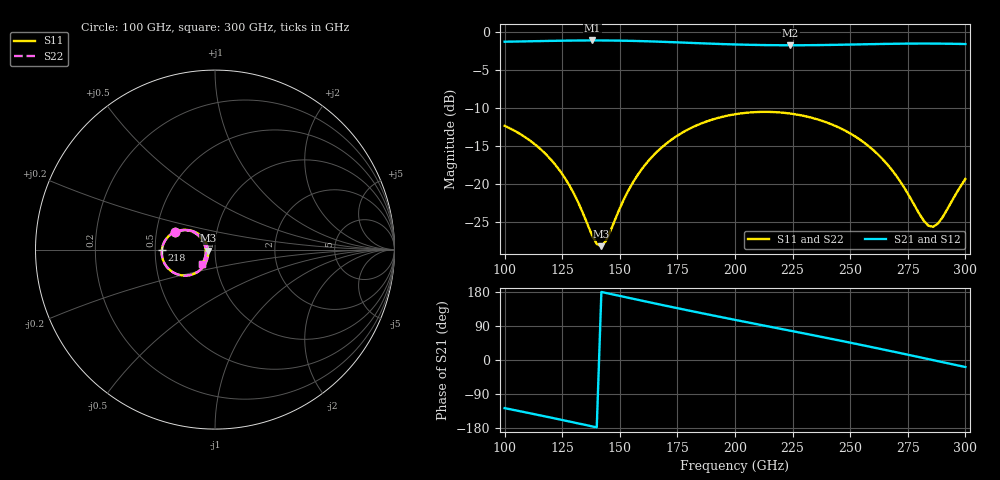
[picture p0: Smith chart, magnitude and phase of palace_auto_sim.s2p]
#  GHZ S DB R 50
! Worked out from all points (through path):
!   101 points, 100 GHz to 300 GHz, reference 50 ohm
!   highest |S21| = -1.15 dB at 138 GHz (marker M1); lowest = -1.8 dB at 224 GHz (marker M2)
!   group delay of S21, straight-line fit = 3.47 ps
!   lowest |S11| = -28.2 dB at 142 GHz (marker M3), VSWR 1.08, Z = 46.3 - j0.608 ohm
!   |S11| at or under -10 dB: start of sweep to end of sweep
!   |S22| runs from -28.1 to -10.5 dB; largest |S21 - S12| = 9.9e-14
!   S11 on the Smith chart (normalised r, x): 100 GHz: 0.63, +0.13; 218 GHz: 0.54, -0.00; 300 GHz: 0.85, -0.14
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100  -12.37 156.3  -1.31 -127.0  -1.31 -127.0  -12.36 156.4
110  -14.08 146.3  -1.26 -139.3  -1.26 -139.3  -14.07 146.5
120  -16.77 138.3  -1.20 -151.9  -1.20 -151.9  -16.76 138.5
128  -20.13 136.0  -1.17 -162.2  -1.17 -162.2  -20.11 136.4
134  -23.84 142.5  -1.15 -170.0  -1.15 -170.0  -23.80 142.9
138  -26.78 158.3  -1.15 -175.2  -1.15 -175.2  -26.71 158.7
140  -27.90 172.5  -1.15 -177.8  -1.15 -177.8  -27.80 172.7
142  -28.18 -170.3  -1.15 179.6  -1.15 179.6  -28.08 -170.3
144  -27.48 -154.1  -1.15 176.9  -1.15 176.9  -27.40 -154.3
156  -19.65 -124.2  -1.21 161.2  -1.21 161.2  -19.64 -124.3
168  -15.26 -130.0  -1.32 145.7  -1.32 145.7  -15.25 -130.0
184  -12.22 -145.0  -1.50 125.5  -1.50 125.5  -12.22 -144.9
200  -10.85 -161.4  -1.67 106.0  -1.67 106.0  -10.85 -161.3
218  -10.58 -179.8  -1.77 84.4  -1.77 84.4  -10.58 -179.7
224  -10.75 174.2  -1.78 77.3  -1.78 77.3  -10.75 174.3
234  -11.37 164.3  -1.76 65.3  -1.76 65.3  -11.37 164.4
254  -14.13 146.3  -1.66 40.7  -1.66 40.7  -14.13 146.4
268  -18.12 139.5  -1.59 23.0  -1.59 23.0  -18.14 139.6
282  -24.87 164.0  -1.56 4.9  -1.56 4.9  -24.94 164.2
286  -25.64 -173.2  -1.56 -0.3  -1.56 -0.3  -25.71 -172.7
290  -24.43 -151.8  -1.57 -5.5  -1.57 -5.5  -24.48 -151.2
300  -19.35 -132.5  -1.62 -18.5  -1.62 -18.5  -19.35 -131.9
